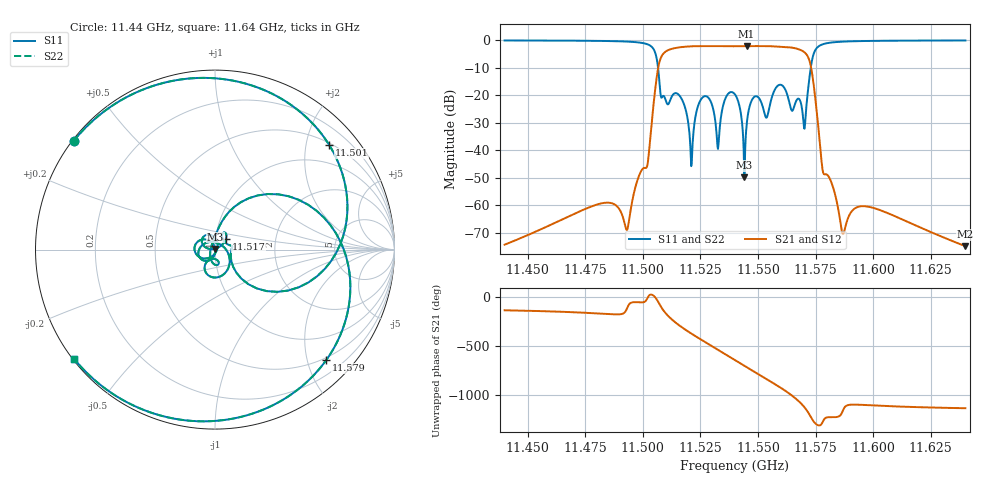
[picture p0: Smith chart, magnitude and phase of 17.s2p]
! This file was generated by CST Filter Designer 3D
! Date:  05.11.2025 19:47:40
# MHZ S RI R 50
!  Frequency  Re(S11)  Im(S11)  Re(S21)  Im(S21)  Re(S12)  Im(S12)  Re(S22)  Im(S22)
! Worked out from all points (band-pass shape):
!   1001 points, 11.44 GHz to 11.64 GHz, reference 50 ohm
!   highest |S21| = -2.09 dB at 11.545 GHz (marker M1); lowest = -74.8 dB at 11.64 GHz (marker M2)
!   |S21| within 3 dB of the highest: 11.509 GHz to 11.571 GHz (62.31 MHz wide, 0.54 % of centre)
!   lowest |S11| = -49.7 dB at 11.544 GHz (marker M3), VSWR 1.01, Z = 50.1 + j0.293 ohm
!   |S11| at or under -10 dB: 11.507 GHz to 11.573 GHz (66.27 MHz wide, 0.574 % of centre)
!   |S22| runs from -49.7 to -0.1 dB; largest |S21 - S12| = 0
!   S11 on the Smith chart (normalised r, x): 11.44 GHz: 0.00, +0.34; 11.501 GHz: 0.54, +2.47; 11.517 GHz: 1.12, +0.13; 11.579 GHz: 0.46, -2.36; 11.64 GHz: 0.00, -0.34
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11440  -0.788 0.6046  -0.000125 -0.000146  -0.000125 -0.000146  -0.788 0.6046
11473.4  -0.5006 0.8451  -0.000724 -0.00035  -0.000724 -0.00035  -0.5006 0.8451
11493  0.0789 0.9451  -0.000166 -0.000315  -0.000166 -0.000315  0.0789 0.9451
11501.4  0.6361 0.5832  0.00412 -0.00244  0.00412 -0.00244  0.6361 0.5832
11506.8  0.1851 -0.1921  0.214 -0.2632  0.214 -0.2632  0.1851 -0.1921
11511.2  0.0454 0.0538  -0.6502 0.1567  -0.6502 0.1567  0.0454 0.0538
11517  0.0602 0.058  0.4335 0.6173  0.4335 0.6173  0.0602 0.058
11521  0.000521 0.00513  0.77 -0.1048  0.77 -0.1048  0.000521 0.00513
11526.8  -0.0661 0.07  -0.0233 -0.7831  -0.0233 -0.7831  -0.0661 0.07
11533.2  0.000261 -0.021  -0.7842 0.0344  -0.7842 0.0344  0.000261 -0.021
11540  -0.0922 0.0471  0.1307 0.7688  0.1307 0.7688  -0.0922 0.0471
11544  0.00145 0.00292  0.7225 0.308  0.7225 0.308  0.00145 0.00292
11545  -0.00148 -0.0276  0.7765 0.1203  0.7765 0.1203  -0.00148 -0.0276
11551.6  -0.064 0.0299  0.0841 -0.7808  0.0841 -0.7808  -0.064 0.0299
11557.6  0.0678 -0.1151  -0.7574 -0.1466  -0.7574 -0.1466  0.0678 -0.1151
11563.6  -0.0394 -0.0624  -0.1076 0.7383  -0.1076 0.7383  -0.0394 -0.0624
11568  -0.000987 -0.084  0.6608 0.1538  0.6608 0.1538  -0.000987 -0.084
11573.4  0.2945 0.3096  -0.2447 -0.0886  -0.2447 -0.0886  0.2945 0.3096
11579.2  0.6207 -0.6141  -0.00324 -0.00176  -0.00324 -0.00176  0.6207 -0.6141
11586.8  0.1158 -0.9385  6.96e-05 -0.000292  6.96e-05 -0.000292  0.1158 -0.9385
11606.8  -0.4924 -0.8495  0.000616 -0.000349  0.000616 -0.000349  -0.4924 -0.8495
11640  -0.7828 -0.6111  0.000115 -0.00014  0.000115 -0.00014  -0.7828 -0.6111
